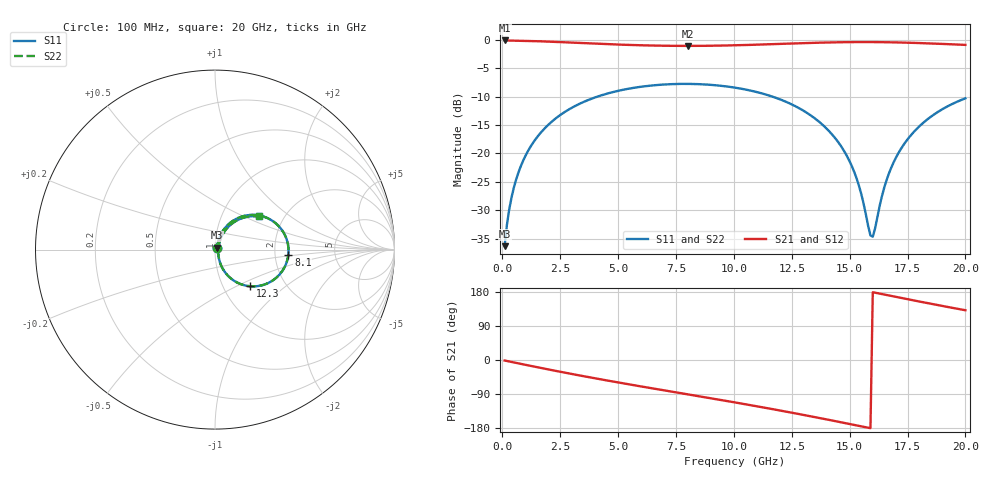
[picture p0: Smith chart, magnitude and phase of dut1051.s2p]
! Touchstone file exported from HFSS 2026.1.0
!  File:  C:/ffzhzh/LocalFiles/Ansys_Project_Files/temp_train_TSV_RDL_1051_1783296870_39728.aedt
!  Generated:  08:24:55 AM Jul  6, 2026
!  Design:  TSV_RDL
!  Project:  temp_train_TSV_RDL_1051_1783296870_39728
! Variables:
!  h_bsmrdl = 5.51um
!  h_ox = 20um
!  h_rdl = 5um
!  h_sub = 88.12um
!  h_tmrdl = 4.71um
!  h_tsv = 88.12um
!  h_via = 3um
!  l_bsmrdl = 929.91um
!  l_sub = 3768.09um
!  l_tmrdl = 104.72um
!  m_sub = 200um
!  pitch = 45.08um
!  r_tsv = 7.39um
!  s_tmrdl = 10um
!  w_bsmrdl = 24.1um
!  w_sub = 500um
!  w_tmrdl = 29.06um
!  x_tsv_center1 = 119.25um
!  x_tsv_center2 = 1073.26um
!  x_tsv_center3 = 1207.04um
!  x_tsv_center4 = 2161.05um
!  x_tsv_center5 = 2294.83um
!  x_tsv_center6 = 3248.84um
# GHz S MA R 50.000000
! Terminal data exported
! Port[1] = TM_RDL1_1_T1
! Port[2] = TM_RDL5_1_T1
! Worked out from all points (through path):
!   200 points, 100 MHz to 20 GHz, reference 50 ohm
!   highest |S21| = -0.10 dB at 100 MHz (marker M1); lowest = -1.1 dB at 8 GHz (marker M2)
!   group delay of S21, straight-line fit = 31.2 ps
!   lowest |S11| = -36.3 dB at 100 MHz (marker M3), VSWR 1.03, Z = 51.1 + j1.05 ohm
!   |S11| at or under -10 dB: start of sweep to 4.102 GHz; 11.67 GHz to end of sweep
!   |S22| runs from -36.3 to -7.7 dB; largest |S21 - S12| = 1.8e-14
!   S11 on the Smith chart (normalised r, x): 100 MHz: 1.02, +0.02; 8.1 GHz: 2.37, -0.16; 12.3 GHz: 1.33, -0.59; 20 GHz: 1.50, +0.61
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0.1  0.01523 42.6  0.989 -1.3  0.989 -1.3  0.01523 42.6
! Gamma 0 0 0 0
! Port Impedance 50 0 50 0
0.3  0.03215 63.6  0.9872 -3.9  0.9872 -3.9  0.03215 63.6
0.5  0.05001 68.5  0.9857 -6.4  0.9857 -6.4  0.05001 68.5
1.1  0.1041 67.9  0.9799 -14.0  0.9799 -14.0  0.1041 67.9
2.1  0.1876 58.3  0.9642 -26.2  0.9642 -26.2  0.1876 58.3
3.5  0.2834 43.0  0.9369 -42.6  0.9369 -42.6  0.2834 43.0
6.8  0.4022 9.0  0.8896 -78.2  0.8896 -78.2  0.4022 9.0
8  0.4098 -2.9  0.8856 -90.6  0.8856 -90.6  0.4098 -2.9
8.1  0.4096 -3.9  0.8856 -91.6  0.8856 -91.6  0.4095 -3.9
10.1  0.3782 -23.8  0.8972 -112.5  0.8972 -112.5  0.3782 -23.8
12.3  0.2822 -46.4  0.9266 -136.7  0.9266 -136.7  0.2822 -46.4
13.4  0.2106 -57.6  0.9419 -149.5  0.9419 -149.5  0.2106 -57.6
14.3  0.1424 -65.7  0.9516 -160.3  0.9516 -160.3  0.1423 -65.7
15  0.08518 -69.0  0.9562 -168.9  0.9562 -168.9  0.08511 -69.0
15.5  0.04414 -63.0  0.9575 -175.0  0.9575 -175.0  0.04406 -63.1
15.9  0.01891 -18.6  0.9573 -179.9  0.9573 -179.9  0.01883 -18.5
16  0.01845 7.2  0.957 178.8  0.957 178.8  0.01839 7.4
16.4  0.04235 56.5  0.9554 173.9  0.9554 173.9  0.04237 56.7
16.7  0.06675 62.5  0.9534 170.2  0.9534 170.2  0.06678 62.6
17.2  0.1083 62.7  0.9488 164.1  0.9488 164.1  0.1083 62.8
17.9  0.1646 57.8  0.9399 155.6  0.9399 155.6  0.1647 57.9
20  0.3057 37.1  0.904 131.3  0.904 131.3  0.3057 37.1
